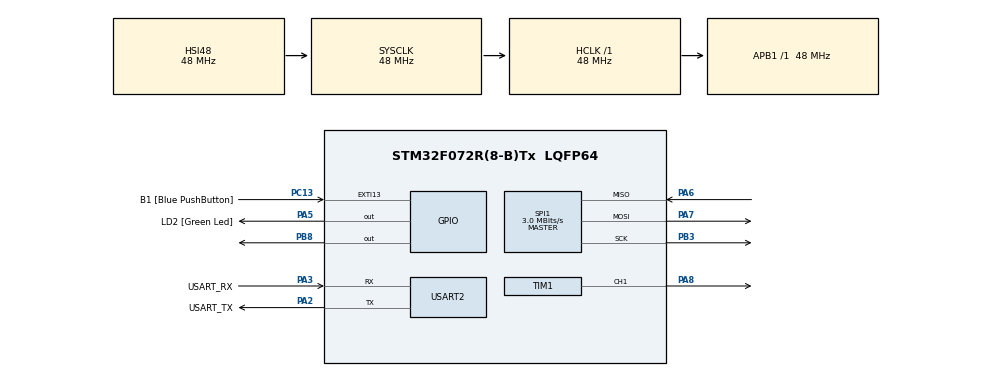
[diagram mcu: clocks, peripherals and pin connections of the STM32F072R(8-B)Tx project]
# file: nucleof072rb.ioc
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Mcu.Family=STM32F0
Mcu.Name=STM32F072R(8-B)Tx
Mcu.Package=LQFP64
PA13.GPIO_Label=TMS
PA13.Mode=Serial_Wire
PA13.Signal=SYS_SWDIO
PA14.GPIO_Label=TCK
PA14.Mode=Serial_Wire
PA14.Signal=SYS_SWCLK
PA2.GPIO_Label=USART_TX
PA2.GPIO_Mode=GPIO_MODE_AF_PP
PA2.GPIO_PuPd=GPIO_NOPULL
PA2.GPIO_Speed=GPIO_SPEED_FREQ_LOW
PA2.Mode=Asynchronous
PA2.Signal=USART2_TX
PA3.GPIO_Label=USART_RX
PA3.GPIO_Mode=GPIO_MODE_AF_PP
PA3.GPIO_PuPd=GPIO_NOPULL
PA3.GPIO_Speed=GPIO_SPEED_FREQ_LOW
PA3.Mode=Asynchronous
PA3.Signal=USART2_RX
PA5.GPIO_Label=LD2 [Green Led]
PA5.GPIO_Mode=GPIO_MODE_OUTPUT_PP
PA5.GPIO_PuPd=GPIO_NOPULL
PA5.GPIO_Speed=GPIO_SPEED_FREQ_LOW
PA5.Signal=GPIO_Output
PA6.Mode=Full_Duplex_Master
PA6.Signal=SPI1_MISO
PA7.Mode=Full_Duplex_Master
PA7.Signal=SPI1_MOSI
PA8.Signal=S_TIM1_CH1
PB3.Mode=Full_Duplex_Master
PB3.Signal=SPI1_SCK
PB8.Signal=GPIO_Output
PC13.GPIO_Label=B1 [Blue PushButton]
PC13.GPIO_ModeDefaultEXTI=GPIO_MODE_IT_FALLING
PC13.Signal=GPXTI13
PC14-OSC32_IN.Mode=LSE-External-Oscillator
PC14-OSC32_IN.Signal=RCC_OSC32_IN
PC15-OSC32_OUT.Mode=LSE-External-Oscillator
PC15-OSC32_OUT.Signal=RCC_OSC32_OUT
PF0-OSC_IN.Mode=HSE-External-Clock-Source
PF0-OSC_IN.Signal=RCC_OSC_IN
PF1-OSC_OUT.Signal=RCC_OSC_OUT
ProjectManager.HeapSize=0x200
ProjectManager.StackSize=0x400
ProjectManager.TargetToolchain=STM32CubeIDE
RCC.AHBFreq_Value=48000000
RCC.APB1Freq_Value=48000000
RCC.APB1TimFreq_Value=48000000
RCC.FLatency-AdvancedSettings=FLASH_LATENCY_1
RCC.HCLKFreq_Value=48000000
RCC.PLLDivider=RCC_PREDIV_DIV2
RCC.PLLMUL=RCC_PLL_MUL12
RCC.PREFETCH_ENABLE-AdvancedSettings=1
RCC.SYSCLKFreq_VALUE=48000000
RCC.SYSCLKSource=RCC_SYSCLKSOURCE_HSI48
SH.S_TIM1_CH1.0=TIM1_CH1,PWM Generation1 CH1
SPI1.BaudRatePrescaler=SPI_BAUDRATEPRESCALER_16
SPI1.CalculateBaudRate=3.0 MBits/s
SPI1.DataSize=SPI_DATASIZE_8BIT
SPI1.Direction=SPI_DIRECTION_2LINES
SPI1.Mode=SPI_MODE_MASTER
SPI1.VirtualType=VM_MASTER
TIM1.Channel-PWM\ Generation1\ CH1=TIM_CHANNEL_1
TIM1.Period=19999
TIM1.Prescaler=14
USART2.VirtualMode=VM_ASYNC
USART2.VirtualMode-Asynchronous=VM_ASYNC
VP_TIM1_VS_ClockSourceINT.Mode=Internal
board=NUCLEO-F072RB

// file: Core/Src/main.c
/* USER CODE BEGIN Header */
/**
  ******************************************************************************
  * @file           : main.c
  * @brief          : Main program body
  ******************************************************************************
  * @attention
  *
  * <h2><center>&copy; Copyright (c) 2021 STMicroelectronics.
  * All rights reserved.</center></h2>
  *
  * This software component is licensed by ST under BSD 3-Clause license,
  * the "License"; You may not use this file except in compliance with the
  * License. You may obtain a copy of the License at:
  *                        opensource.org/licenses/BSD-3-Clause
  *
  ******************************************************************************
  */
/* USER CODE END Header */
#include "main.h"
#include "spi.h"
#include "tim.h"
#include "usart.h"
#include "gpio.h"

/* USER CODE BEGIN PV */

uint8_t tx_data[3] = {0};
uint8_t rx_data[3] = {0};

uint16_t adc_value = 0;
uint16_t pwm_value = 0;

/* USER CODE END PV */

void SystemClock_Config(void);

int main(void)
{

  /* MCU Configuration--------------------------------------------------------*/

  /* Reset of all peripherals, Initializes the Flash interface and the Systick. */
  HAL_Init();

  /* Configure the system clock */
  SystemClock_Config();

  /* Initialize all configured peripherals */
  MX_GPIO_Init();
  MX_USART2_UART_Init();
  MX_SPI1_Init();
  MX_TIM1_Init();
  /* USER CODE BEGIN 2 */
  HAL_GPIO_WritePin(GPIOB, GPIO_PIN_8, GPIO_PIN_SET);
  HAL_TIM_PWM_Start(&htim1, TIM_CHANNEL_1);

  /* USER CODE END 2 */

  /* Infinite loop */
  while (1)
  {

    /* USER CODE BEGIN 3 */

	  tx_data[0] = 0x01;
	  tx_data[1] = 0x80;
	  tx_data[2] = 0x00;

	  HAL_GPIO_WritePin(GPIOB, GPIO_PIN_8, GPIO_PIN_RESET);

	  HAL_SPI_TransmitReceive(&hspi1, tx_data, rx_data, 3, HAL_MAX_DELAY);

	  HAL_GPIO_WritePin(GPIOB, GPIO_PIN_8, GPIO_PIN_SET);

	  adc_value = ((rx_data[1] & 0x03) << 8) | rx_data[2];

	  pwm_value = 3200 + ((adc_value * 3200) / 1023);

	  __HAL_TIM_SET_COMPARE(&htim1, TIM_CHANNEL_1, pwm_value);

	  HAL_Delay(10);
  }
  /* USER CODE END 3 */
}

void SystemClock_Config(void)
{
  RCC_OscInitTypeDef RCC_OscInitStruct = {0};
  RCC_ClkInitTypeDef RCC_ClkInitStruct = {0};
  RCC_PeriphCLKInitTypeDef PeriphClkInit = {0};

  /** Initializes the RCC Oscillators according to the specified parameters
  * in the RCC_OscInitTypeDef structure.
  */
  RCC_OscInitStruct.OscillatorType = RCC_OSCILLATORTYPE_HSI48;
  RCC_OscInitStruct.HSI48State = RCC_HSI48_ON;
  RCC_OscInitStruct.PLL.PLLState = RCC_PLL_NONE;
  if (HAL_RCC_OscConfig(&RCC_OscInitStruct) != HAL_OK)
  {
    Error_Handler();
  }
  /** Initializes the CPU, AHB and APB buses clocks
  */
  RCC_ClkInitStruct.ClockType = RCC_CLOCKTYPE_HCLK|RCC_CLOCKTYPE_SYSCLK
                              |RCC_CLOCKTYPE_PCLK1;
  RCC_ClkInitStruct.SYSCLKSource = RCC_SYSCLKSOURCE_HSI48;
  RCC_ClkInitStruct.AHBCLKDivider = RCC_SYSCLK_DIV1;
  RCC_ClkInitStruct.APB1CLKDivider = RCC_HCLK_DIV1;

  if (HAL_RCC_ClockConfig(&RCC_ClkInitStruct, FLASH_LATENCY_1) != HAL_OK)
  {
    Error_Handler();
  }
  PeriphClkInit.PeriphClockSelection = RCC_PERIPHCLK_USART2;
  PeriphClkInit.Usart2ClockSelection = RCC_USART2CLKSOURCE_PCLK1;
  if (HAL_RCCEx_PeriphCLKConfig(&PeriphClkInit) != HAL_OK)
  {
    Error_Handler();
  }
}

void Error_Handler(void)
{
  __disable_irq();
  while (1)
  {
  }
}

/************************ (C) COPYRIGHT STMicroelectronics *****END OF FILE****/
